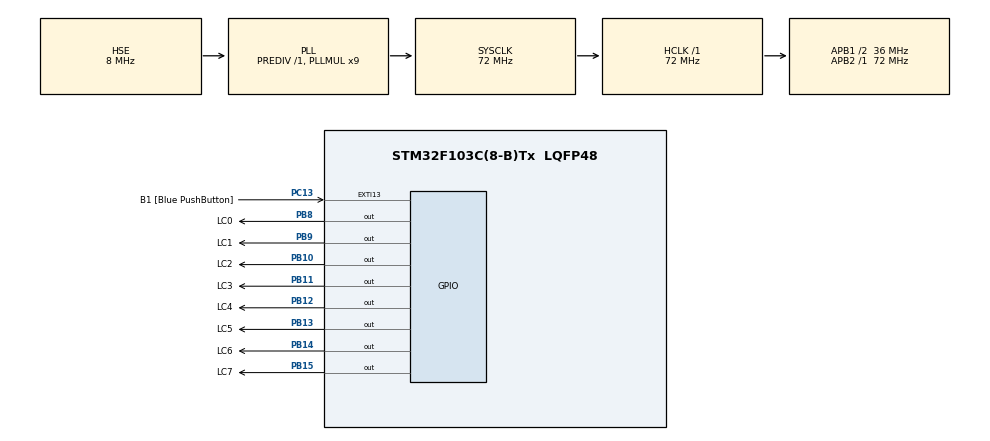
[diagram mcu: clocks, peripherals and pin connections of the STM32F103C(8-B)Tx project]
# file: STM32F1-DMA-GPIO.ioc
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Dma.Request0=TIM1_UP
Dma.TIM1_UP.0.Direction=DMA_MEMORY_TO_PERIPH
Dma.TIM1_UP.0.Instance=DMA1_Channel5
Dma.TIM1_UP.0.MemDataAlignment=DMA_MDATAALIGN_BYTE
Dma.TIM1_UP.0.MemInc=DMA_MINC_ENABLE
Dma.TIM1_UP.0.Mode=DMA_NORMAL
Dma.TIM1_UP.0.PeriphDataAlignment=DMA_PDATAALIGN_BYTE
Dma.TIM1_UP.0.PeriphInc=DMA_PINC_DISABLE
Dma.TIM1_UP.0.Priority=DMA_PRIORITY_VERY_HIGH
Mcu.Family=STM32F1
Mcu.Name=STM32F103C(8-B)Tx
Mcu.Package=LQFP48
NVIC.DMA1_Channel5_IRQn=true\:0\:0\:false\:false\:true\:false\:true
NVIC.EXTI15_10_IRQn=true\:0\:0\:false\:false\:true\:true\:true
NVIC.PriorityGroup=NVIC_PRIORITYGROUP_4
PA13.Mode=Serial_Wire
PA13.Signal=SYS_JTMS-SWDIO
PA14.Mode=Serial_Wire
PA14.Signal=SYS_JTCK-SWCLK
PB10.GPIO_Label=LC2
PB10.Signal=GPIO_Output
PB11.GPIO_Label=LC3
PB11.Signal=GPIO_Output
PB12.GPIO_Label=LC4
PB12.Signal=GPIO_Output
PB13.GPIO_Label=LC5
PB13.Signal=GPIO_Output
PB14.GPIO_Label=LC6
PB14.Signal=GPIO_Output
PB15.GPIO_Label=LC7
PB15.Signal=GPIO_Output
PB8.GPIO_Label=LC0
PB8.Signal=GPIO_Output
PB9.GPIO_Label=LC1
PB9.Signal=GPIO_Output
PC13-TAMPER-RTC.GPIO_Label=B1 [Blue PushButton]
PC13-TAMPER-RTC.GPIO_ModeDefaultEXTI=GPIO_MODE_IT_FALLING
PC13-TAMPER-RTC.GPIO_PuPd=GPIO_NOPULL
PC13-TAMPER-RTC.Signal=GPXTI13
PC14-OSC32_IN.Mode=LSE-External-Oscillator
PC14-OSC32_IN.Signal=RCC_OSC32_IN
PC15-OSC32_OUT.Mode=LSE-External-Oscillator
PC15-OSC32_OUT.Signal=RCC_OSC32_OUT
PD0-OSC_IN.Mode=HSE-External-Oscillator
PD0-OSC_IN.Signal=RCC_OSC_IN
PD1-OSC_OUT.Mode=HSE-External-Oscillator
PD1-OSC_OUT.Signal=RCC_OSC_OUT
ProjectManager.HeapSize=0x200
ProjectManager.StackSize=0x400
ProjectManager.TargetToolchain=Makefile
RCC.AHBFreq_Value=72000000
RCC.APB1CLKDivider=RCC_HCLK_DIV2
RCC.APB1Freq_Value=36000000
RCC.APB1TimFreq_Value=72000000
RCC.APB2Freq_Value=72000000
RCC.APB2TimFreq_Value=72000000
RCC.HCLKFreq_Value=72000000
RCC.PLLMUL=RCC_PLL_MUL9
RCC.PLLSourceVirtual=RCC_PLLSOURCE_HSE
RCC.SYSCLKFreq_VALUE=72000000
RCC.SYSCLKSource=RCC_SYSCLKSOURCE_PLLCLK
RCC.USBFreq_Value=72000000
TIM1.Period=72-1
TIM1.Prescaler=0
VP_TIM1_VS_ClockSourceINT.Mode=Internal
board=STM32F103-HAL-DMA-GPIO

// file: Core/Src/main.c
/* USER CODE BEGIN Header */
/**
  ******************************************************************************
  * @file           : main.c
  * @brief          : Main program body
  ******************************************************************************
  * @attention
  *
  * <h2><center>&copy; Copyright (c) 2021 STMicroelectronics.
  * All rights reserved.</center></h2>
  *
  * This software component is licensed by ST under BSD 3-Clause license,
  * the "License"; You may not use this file except in compliance with the
  * License. You may obtain a copy of the License at:
  *                        opensource.org/licenses/BSD-3-Clause
  *
  ******************************************************************************
  */
/* USER CODE END Header */
#include "main.h"
#include "dma.h"
#include "tim.h"
#include "gpio.h"

/* USER CODE BEGIN Includes */
#include "stdio.h"
/* USER CODE END Includes */

/* USER CODE BEGIN PV */

extern DMA_HandleTypeDef hdma_tim1_up;
uint8_t data[] = {0xF0, 0xE1, 0xD2, 0xC3, 0xB4, 0xA5, 0x96, 0x87, 0x78, 0x69, 0x5a, 0x4b, 0x4c, 0x3d, 0x2e, 0x1f, 0x00}; // Data to transfer

/* USER CODE END PV */

void SystemClock_Config(void);

/* USER CODE BEGIN 0 */
int _write(int file, char *ptr, int len)
{
	int DataIdx;
	for(DataIdx = 0; DataIdx < len; DataIdx++)
	{
	   ITM_SendChar( *ptr++ );
	}
	return len;
}

/* USER CODE END 0 */

int main(void)
{

  /* MCU Configuration--------------------------------------------------------*/

  /* Reset of all peripherals, Initializes the Flash interface and the Systick. */
  HAL_Init();

  /* Configure the system clock */
  SystemClock_Config();

  /* Initialize all configured peripherals */
  MX_GPIO_Init();
  MX_DMA_Init();
  MX_TIM1_Init();
  /* USER CODE BEGIN 2 */

  HAL_DMA_Init(&hdma_tim1_up);

  HAL_TIM_Base_Start(&htim1); // GPIOB[8..15]
  HAL_DMA_Start_IT(&hdma_tim1_up, (uint32_t)data, (((uint32_t)&GPIOB->ODR)+1), 17);
  __HAL_TIM_ENABLE_DMA(&htim1, TIM_DMA_UPDATE);

  printf("Running\n");
  /* USER CODE END 2 */

  /* Infinite loop */
  /* USER CODE BEGIN WHILE */
  while (1)
  {

    printf("DMA Transmit...\n");
    HAL_DMA_Start_IT(&hdma_tim1_up, (uint32_t)data, (((uint32_t)&GPIOB->ODR)+1), 17);
    __HAL_TIM_ENABLE_DMA(&htim1, TIM_DMA_UPDATE);

    // for(uint16_t i =0; i<1e3L; i++) __asm volatile ("nop");

    /* USER CODE END WHILE */

  }
}

void SystemClock_Config(void)
{
  RCC_OscInitTypeDef RCC_OscInitStruct = {0};
  RCC_ClkInitTypeDef RCC_ClkInitStruct = {0};

  /** Initializes the RCC Oscillators according to the specified parameters
  * in the RCC_OscInitTypeDef structure.
  */
  RCC_OscInitStruct.OscillatorType = RCC_OSCILLATORTYPE_HSE;
  RCC_OscInitStruct.HSEState = RCC_HSE_ON;
  RCC_OscInitStruct.HSEPredivValue = RCC_HSE_PREDIV_DIV1;
  RCC_OscInitStruct.HSIState = RCC_HSI_ON;
  RCC_OscInitStruct.PLL.PLLState = RCC_PLL_ON;
  RCC_OscInitStruct.PLL.PLLSource = RCC_PLLSOURCE_HSE;
  RCC_OscInitStruct.PLL.PLLMUL = RCC_PLL_MUL9;
  if (HAL_RCC_OscConfig(&RCC_OscInitStruct) != HAL_OK)
  {
    Error_Handler();
  }
  /** Initializes the CPU, AHB and APB buses clocks
  */
  RCC_ClkInitStruct.ClockType = RCC_CLOCKTYPE_HCLK|RCC_CLOCKTYPE_SYSCLK
                              |RCC_CLOCKTYPE_PCLK1|RCC_CLOCKTYPE_PCLK2;
  RCC_ClkInitStruct.SYSCLKSource = RCC_SYSCLKSOURCE_PLLCLK;
  RCC_ClkInitStruct.AHBCLKDivider = RCC_SYSCLK_DIV1;
  RCC_ClkInitStruct.APB1CLKDivider = RCC_HCLK_DIV2;
  RCC_ClkInitStruct.APB2CLKDivider = RCC_HCLK_DIV1;

  if (HAL_RCC_ClockConfig(&RCC_ClkInitStruct, FLASH_LATENCY_2) != HAL_OK)
  {
    Error_Handler();
  }
}

void Error_Handler(void)
{
  /* USER CODE BEGIN Error_Handler_Debug */
  // printf("Error! %s:%d", file, line);
  /* User can add his own implementation to report the HAL error return state */
  __disable_irq();
  while (1)
  {
  }
  /* USER CODE END Error_Handler_Debug */
}

/************************ (C) COPYRIGHT STMicroelectronics *****END OF FILE****/
